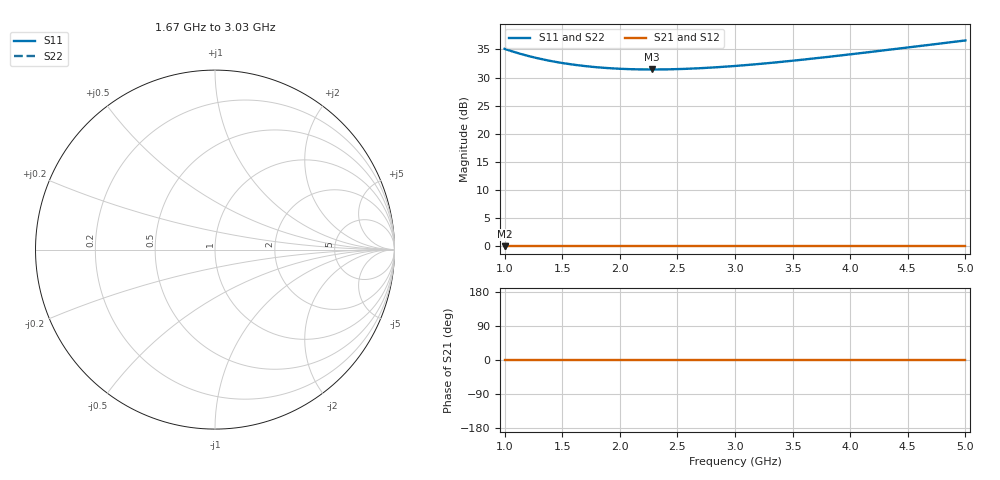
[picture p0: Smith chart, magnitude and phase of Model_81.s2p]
# GHZ S RI R 50
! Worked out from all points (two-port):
!   401 points, 1 GHz to 5 GHz, reference 50 ohm
!   highest |S21| = 0.00 dB at 1 GHz (marker M1); lowest = 0.0 dB at 1 GHz (marker M2)
!   |S21| within 3 dB of the highest: start of sweep to end of sweep
!   lowest |S11| = 31.4 dB at 2.28 GHz (marker M3)
!   |S11| at or under -10 dB: nowhere
!   |S22| runs from 31.4 to 36.6 dB; largest |S21 - S12| = 0
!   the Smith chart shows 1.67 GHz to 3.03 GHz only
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1  56.9 0  1 0  1 0  56.9 0
1.15  50.94 0  1 0  1 0  50.94 0
1.22  48.76 0  1 0  1 0  48.76 0
1.3  46.62 0  1 0  1 0  46.62 0
1.38  44.8 0  1 0  1 0  44.8 0
1.47  43.09 0  1 0  1 0  43.09 0
1.57  41.54 0  1 0  1 0  41.54 0
1.67  40.29 0  1 0  1 0  40.29 0
1.81  38.97 0  1 0  1 0  38.97 0
1.96  38.03 0  1 0  1 0  38.03 0
2.12  37.46 0  1 0  1 0  37.46 0
2.28  37.29 0  1 0  1 0  37.29 0
2.34  37.31 0  1 0  1 0  37.31 0
2.5  37.57 0  1 0  1 0  37.57 0
2.66  38.12 0  1 0  1 0  38.12 0
3  40.07 0  1 0  1 0  40.07 0
3.33  42.87 0  1 0  1 0  42.87 0
3.67  46.55 0  1 0  1 0  46.55 0
4  50.84 0  1 0  1 0  50.84 0
4.34  55.92 0  1 0  1 0  55.92 0
4.63  60.76 0  1 0  1 0  60.76 0
5  67.59 0  1 0  1 0  67.59 0
